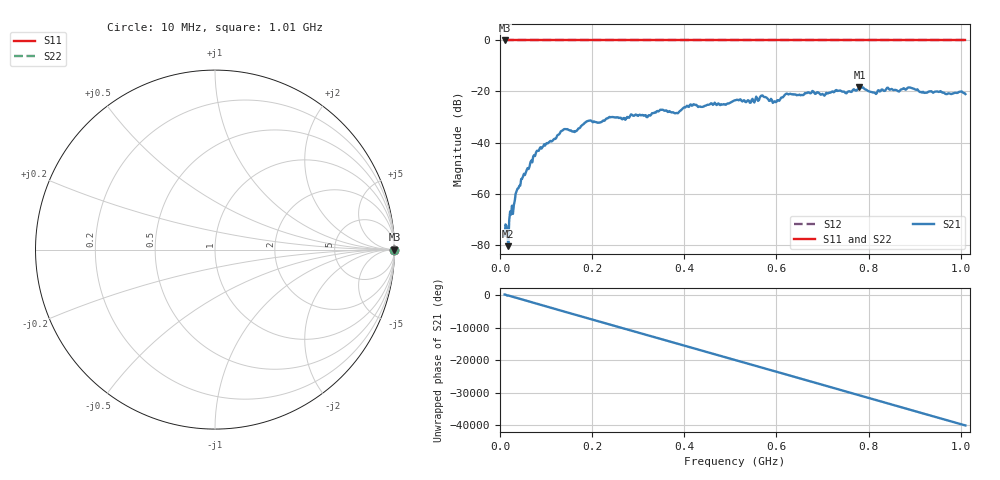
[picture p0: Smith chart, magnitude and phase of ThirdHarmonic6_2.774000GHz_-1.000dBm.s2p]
! 8/17/2025 7:04:38 AM
! C:\ANRITSUVNA\TEMP\TEMP.S2P
! CHANNEL.1
! TR.MEASUREMENT
! RAW.DATA
! RF.CORRECTION.OFF
! AVERAGING.OFF
! IF.BANDWIDTH: 5KHZ
! SWEEPTYPE:  FREQ.SWEEP(Linear)
! Reference Plane Port Info
! PORT:  PORT1  PORT2
! DISTANCE:  0  m  0  m
! TIME:  0  s  0  s
! PHASE.OFFSET:  0  deg.  0  deg.
! LOSS:  0  dB  0  dB
! REF.LOSS:  0  dB  0  dB
! REF.FREQ:  0  Hz  0  Hz
! Power Info
! POWER:  -20  dBm  -20  dBm
! EFF.POWER:  -20  dBm  -20  dBm
! SOURCE.ATTEN:  0  dB  0  dB
! TEST.ATTEN:  0  dB  0  dB
# GHZ S RI R 50.0
! FREQ.GHZ  S11RE  S11IM  S21RE  S21IM  S12RE  S12IM  S22RE  S22IM
!; PortSelection: Port_12
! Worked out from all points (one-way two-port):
!   501 points, 10 MHz to 1.01 GHz, reference 50 ohm
!   highest |S21| = -18.36 dB at 780 MHz (marker M1); lowest = -80.6 dB at 18 MHz (marker M2)
!   lowest |S11| = 0.0 dB at 10 MHz (marker M3)
!   |S11| at or under -10 dB: nowhere
!   |S22| runs from 0.0 to 0.0 dB; largest |S21 - S12| = 1.1
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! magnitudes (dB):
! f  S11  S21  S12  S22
! 10 MHz  0.0  -76.5  0.0  0.0
! 14 MHz  0.0  -72.7  0.0  0.0
! 18 MHz  0.0  -80.6  0.0  0.0
! 38 MHz  0.0  -58.1  0.0  0.0
! 76 MHz  0.0  -45.3  0.0  0.0
! 136 MHz  0.0  -35.2  0.0  0.0
! 162 MHz  0.0  -35.9  0.0  0.0
! 178 MHz  0.0  -33.3  0.0  0.0
! 344 MHz  0.0  -27.8  0.0  0.0
! 382 MHz  0.0  -28.5  0.0  0.0
! 416 MHz  0.0  -25.6  0.0  0.0
! 510 MHz  0.0  -23.4  0.0  0.0
! 548 MHz  0.0  -22.9  0.0  0.0
! 570 MHz  0.0  -21.6  0.0  0.0
! 596 MHz  0.0  -23.8  0.0  0.0
! 622 MHz  0.0  -20.8  0.0  0.0
! 678 MHz  0.0  -19.8  0.0  0.0
! 702 MHz  0.0  -21.3  0.0  0.0
! 780 MHz  0.0  -18.4  0.0  0.0
! 814 MHz  0.0  -20.6  0.0  0.0
! 844 MHz  0.0  -19.1  0.0  0.0
! 1.01 GHz  0.0  -21.0  0.0  0.0
